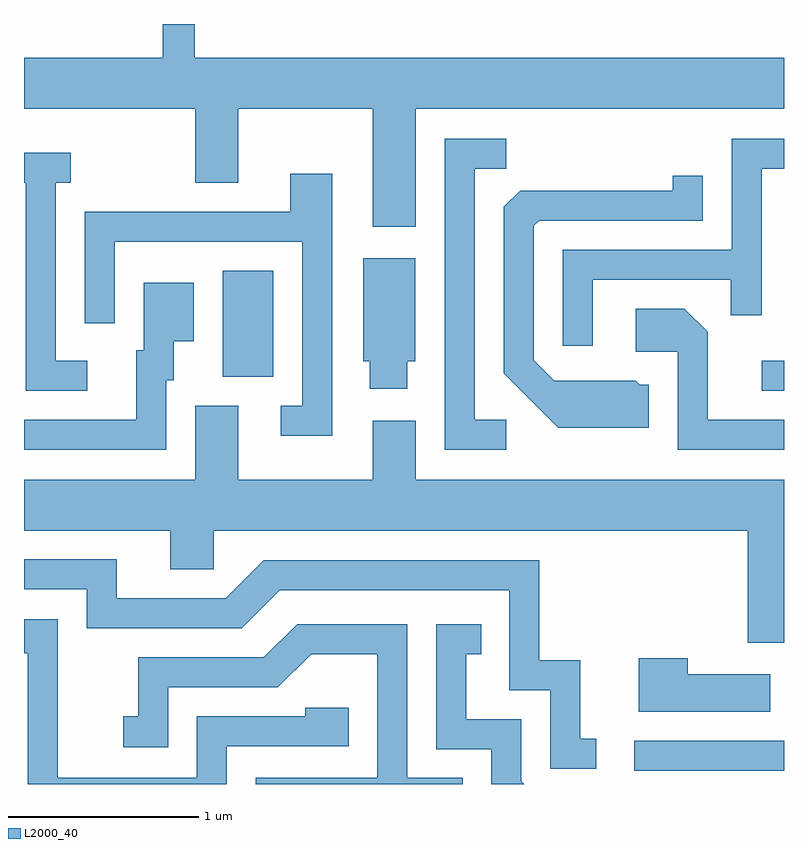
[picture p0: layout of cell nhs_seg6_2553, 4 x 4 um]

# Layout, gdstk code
import gdstk
lib = gdstk.Library(unit=1e-6, precision=1e-09)
def R(c, l, rs):  # rectangles x0, y0, x1, y1
    for r in rs: c.add(gdstk.rectangle(r[:2], r[2:], *l))
def P(c, l, *ps):  # polygons
    for p in ps: c.add(gdstk.Polygon(p, *l))
L2000_40 = (2000, 40)

nhs_seg6_2553 = lib.new_cell('nhs_seg6_2553')
R(nhs_seg6_2553, L2000_40, [(264.823,1644.231,265.611,1644.389), (265.493,1646.231,265.611,1646.389), (262.656,1646.306,262.924,1646.864)])
P(nhs_seg6_2553, L2000_40, [(263.674,1647.716),(265.611,1647.716),(265.611,1647.984),(262.509,1647.984),(262.509,1648.162),(262.341,1648.162),(262.341,1647.984),(261.611,1647.984),(261.611,1647.716),(262.511,1647.716),(262.511,1647.326),(262.739,1647.326),(262.739,1647.716),(263.446,1647.716),(263.446,1647.096),(263.674,1647.096)],
  [(264.148,1646.079),(263.984,1646.079),(263.984,1647.401),(264.148,1647.401),(264.148,1647.559),(263.826,1647.559),(263.826,1645.921),(264.148,1645.921)],
  [(264.604,1646.816),(265.331,1646.816),(265.331,1646.628),(265.494,1646.628),(265.494,1647.401),(265.611,1647.401),(265.611,1647.559),(265.336,1647.559),(265.336,1646.974),(264.446,1646.974),(264.446,1646.468),(264.604,1646.468)],
  [(261.943,1646.389),(261.779,1646.389),(261.779,1647.326),(261.858,1647.326),(261.858,1647.484),(261.611,1647.484),(261.611,1647.326),(261.621,1647.326),(261.621,1646.231),(261.943,1646.231)],
  [(263.234,1647.374),(263.011,1647.374),(263.011,1647.174),(261.931,1647.174),(261.931,1646.588),(262.089,1646.588),(262.089,1647.016),(263.076,1647.016),(263.076,1646.154),(262.963,1646.154),(262.963,1645.996),(263.234,1645.996)],
  [(264.899,1646.264),(264.852,1646.264),(264.832,1646.284),(264.402,1646.284),(264.294,1646.392),(264.294,1647.099),(264.322,1647.126),(265.184,1647.126),(265.184,1647.363),(265.026,1647.363),(265.026,1647.284),(264.222,1647.284),(264.136,1647.199),(264.136,1646.324),(264.424,1646.036),(264.899,1646.036)],
  [(263.629,1646.386),(263.669,1646.386),(263.669,1646.929),(263.396,1646.929),(263.396,1646.386),(263.431,1646.386),(263.431,1646.241),(263.629,1646.241)],
  [(262.359,1646.286),(262.399,1646.286),(262.399,1646.491),(262.504,1646.491),(262.504,1646.799),(262.241,1646.799),(262.241,1646.444),(262.201,1646.444),(262.201,1646.079),(261.611,1646.079),(261.611,1645.921),(262.359,1645.921)],
  [(265.611,1646.079),(265.209,1646.079),(265.209,1646.542),(265.087,1646.664),(264.831,1646.664),(264.831,1646.436),(265.051,1646.436),(265.051,1645.921),(265.611,1645.921)],
  [(265.611,1645.764),(263.674,1645.764),(263.674,1646.074),(263.446,1646.074),(263.446,1645.764),(262.739,1645.764),(262.739,1646.154),(262.511,1646.154),(262.511,1645.764),(261.611,1645.764),(261.611,1645.496),(262.381,1645.496),(262.381,1645.291),(262.609,1645.291),(262.609,1645.496),(265.421,1645.496),(265.421,1644.906),(265.611,1644.906)],
  [(264.623,1644.399),(264.539,1644.399),(264.539,1644.814),(264.324,1644.814),(264.324,1645.339),(262.874,1645.339),(262.674,1645.139),(262.099,1645.139),(262.099,1645.344),(261.611,1645.344),(261.611,1645.186),(261.941,1645.186),(261.941,1644.981),(262.757,1644.981),(262.957,1645.181),(264.166,1645.181),(264.166,1644.656),(264.381,1644.656),(264.381,1644.241),(264.623,1644.241)],
  [(262.679,1644.361),(263.319,1644.361),(263.319,1644.564),(263.091,1644.564),(263.091,1644.519),(262.521,1644.519),(262.521,1644.194),(261.789,1644.194),(261.789,1645.029),(261.611,1645.029),(261.611,1644.851),(261.631,1644.851),(261.631,1644.162),(262.679,1644.162)],
  [(263.919,1644.194),(263.629,1644.194),(263.629,1645.004),(263.049,1645.004),(262.874,1644.829),(262.211,1644.829),(262.211,1644.519),(262.133,1644.519),(262.133,1644.356),(262.369,1644.356),(262.369,1644.671),(262.947,1644.671),(263.122,1644.846),(263.471,1644.846),(263.471,1644.194),(262.831,1644.194),(262.831,1644.162),(263.919,1644.162)],
  [(264.229,1644.177),(264.229,1644.504),(263.939,1644.504),(263.939,1644.846),(264.018,1644.846),(264.018,1645.004),(263.781,1645.004),(263.781,1644.346),(264.071,1644.346),(264.071,1644.162),(264.244,1644.162)],
  [(265.539,1644.739),(265.104,1644.739),(265.104,1644.824),(264.846,1644.824),(264.846,1644.541),(265.539,1644.541)])

lib.write_gds('nhs_seg6_2553.gds')
